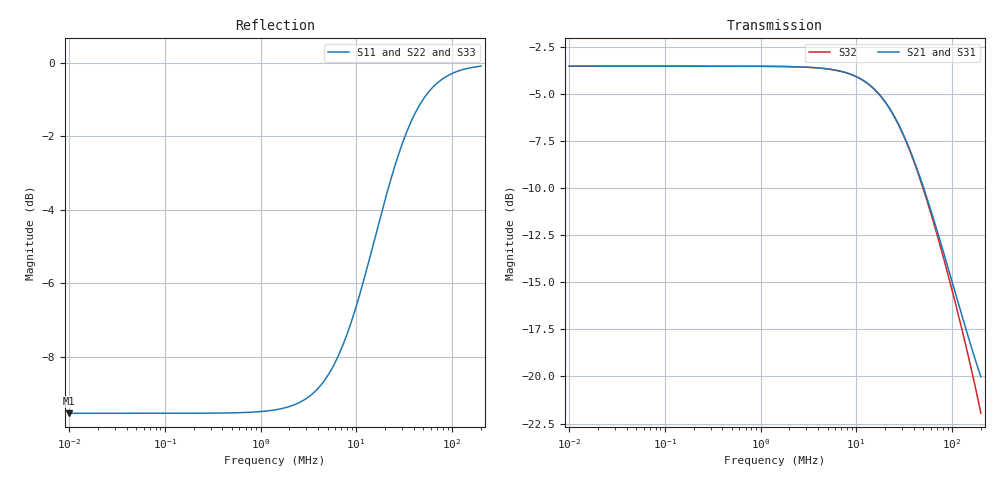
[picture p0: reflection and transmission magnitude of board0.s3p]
! Created with skrf 1.8.0 (http://scikit-rf.org).
# MHz S RI R 50.0
!freq ReS11 ImS11 ReS12 ImS12 ReS13 ImS13
! ReS21 ImS21 ReS22 ImS22 ReS23 ImS23
! ReS31 ImS31 ReS32 ImS32 ReS33 ImS33
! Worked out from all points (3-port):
!   201 points, 10 kHz to 200 MHz, reference 50 ohm
!   strongest paths, dB at 10 kHz, 118.9 kHz, 1.414 MHz, 16.82 MHz, 200 MHz:
!     S21: -3.5, -3.5, -3.5, -4.9, -20.0
!     S31: -3.5, -3.5, -3.5, -4.9, -20.1
!     S32: -3.5, -3.5, -3.5, -5.0, -22.0
!   lowest |S11| = -9.5 dB at 10 kHz (marker M1), VSWR 2.00, Z = 25 - j0.0138 ohm
!   |S11| at or under -10 dB: nowhere
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0.01  -0.3333 -0.000246  0.6667 -0.000248  0.6667 -0.000248
      0.6667 -0.000248  -0.3333 -0.000246  0.6667 -0.000247
      0.6667 -0.000248  0.6667 -0.000247  -0.3333 -0.000246
1.414214  -0.3352 -0.0347  0.6648 -0.035  0.6648 -0.035
          0.6648 -0.035  -0.3352 -0.0347  0.6648 -0.0349
          0.6648 -0.035  0.6648 -0.0349  -0.3352 -0.0347
3.807308  -0.3463 -0.0917  0.6537 -0.0925  0.6537 -0.0925
          0.6537 -0.0925  -0.3464 -0.0919  0.6536 -0.0924
          0.6537 -0.0925  0.6536 -0.0924  -0.3464 -0.0919
8.001939  -0.3871 -0.1807  0.6128 -0.1823  0.6128 -0.1823
          0.6128 -0.1823  -0.3873 -0.181  0.6127 -0.182
          0.6128 -0.1823  0.6127 -0.182  -0.3873 -0.181
13.79596  -0.4713 -0.2686  0.5285 -0.2713  0.5285 -0.2713
          0.5285 -0.2713  -0.4718 -0.2689  0.5282 -0.2706
          0.5285 -0.2713  0.5282 -0.2706  -0.4718 -0.2689
23.7853  -0.6245 -0.3282  0.3749 -0.3326  0.3749 -0.3325
         0.3749 -0.3326  -0.6257 -0.3281  0.3743 -0.3311
         0.3749 -0.3325  0.3743 -0.3311  -0.6257 -0.3281
37.14111  -0.7694 -0.3133  0.2296 -0.3197  0.2297 -0.3196
          0.2296 -0.3197  -0.7712 -0.3122  0.2288 -0.3169
          0.2297 -0.3196  0.2288 -0.3169  -0.7712 -0.3123
64.03413  -0.8994 -0.2321  0.0994 -0.2425  0.0994 -0.2424
          0.0994 -0.2425  -0.9017 -0.2289  0.0983 -0.237
          0.0994 -0.2424  0.0983 -0.237  -0.9017 -0.2291
105.0662  -0.9587 -0.1496  0.0398 -0.1664  0.0398 -0.1662
          0.0398 -0.1664  -0.9613 -0.1435  0.0387 -0.1568
          0.0398 -0.1662  0.0387 -0.1568  -0.9613 -0.1439
200  -0.9878 -0.0665  0.0101 -0.0992  0.0101 -0.0989
     0.0101 -0.0992  -0.9903 -0.054  0.00935 -0.0793
     0.0101 -0.0989  0.00935 -0.0793  -0.9903 -0.0547
